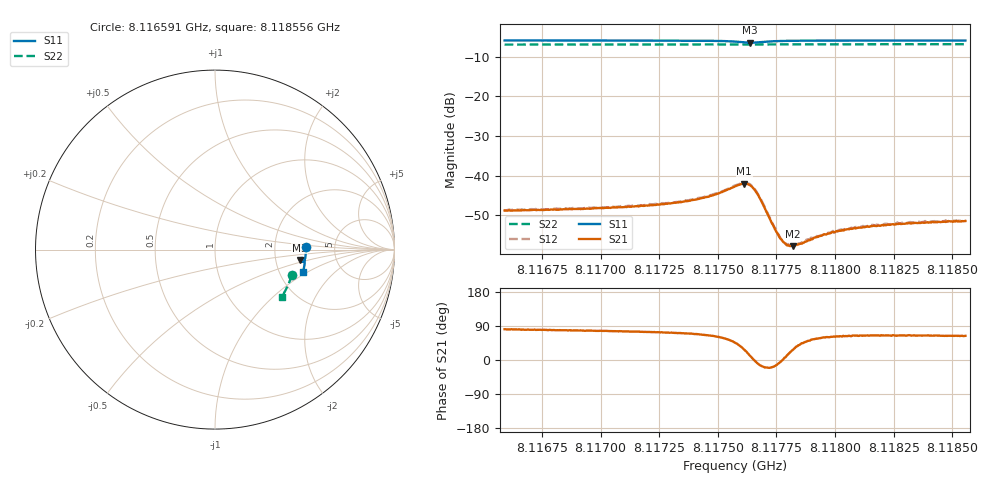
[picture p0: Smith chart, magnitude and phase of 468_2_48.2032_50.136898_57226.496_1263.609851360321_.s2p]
#  HZ  S  RI  R  50.00
! Rohde & Schwarz Vector Network Analyzer
! Rohde-Schwarz,ZNB20-2Port,1311601062101988,3.16
! Created: UTC 3/20/2024, 11:57:02 AM
! freq[Hz]  re:S11  im:S11  re:S21  im:S21  re:S12  im:S12  re:S22  im:S22
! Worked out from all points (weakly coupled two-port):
!   401 points, 8.116591 GHz to 8.118556 GHz, reference 50 ohm
!   highest |S21| = -41.99 dB at 8.117613 GHz (marker M1); lowest = -57.8 dB at 8.117819 GHz (marker M2)
!   lowest |S11| = -6.5 dB at 8.117637 GHz (marker M3), VSWR 2.82, Z = 137 - j20.4 ohm
!   |S11| at or under -10 dB: nowhere
!   |S22| runs from -6.9 to -6.8 dB; largest |S21 - S12| = 0.00023
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8.1165905e9  0.5074 0.0156  0.000557 0.0036  0.000609 0.00364  0.4277 -0.1412
8.1169198e9  0.5071 -0.00988  0.000803 0.00373  0.000842 0.0038  0.4208 -0.1631
8.117249e9  0.5048 -0.0365  0.00125 0.00413  0.0013 0.00425  0.4126 -0.1847
8.1173178e9  0.5038 -0.0425  0.00146 0.00434  0.00146 0.00438  0.4108 -0.1889
8.1174308e9  0.5011 -0.0533  0.00201 0.00482  0.00213 0.00485  0.4076 -0.1965
8.1175045e9  0.4967 -0.0616  0.00294 0.00525  0.00296 0.00533  0.4054 -0.2013
8.1175733e9  0.4863 -0.0684  0.00511 0.00528  0.00526 0.00539  0.4029 -0.2054
8.1176126e9  0.476 -0.0653  0.00704 0.0037  0.00723 0.00371  0.4016 -0.2077
8.1176372e9  0.4724 -0.0575  0.00745 0.0015  0.00766 0.00155  0.4006 -0.2088
8.1176519e9  0.4737 -0.0521  0.00693 0.000177  0.0071 0.000145  0.4005 -0.2094
8.1176716e9  0.4787 -0.0473  0.00564 -0.000974  0.00574 -0.00103  0.4001 -0.2104
8.1177404e9  0.4944 -0.0514  0.00213 -0.000647  0.00215 -0.000678  0.3988 -0.2149
8.1177699e9  0.497 -0.0556  0.00158 -0.000101  0.00158 -0.000152  0.398 -0.2169
8.1177945e9  0.4984 -0.0588  0.0013 0.00027  0.00133 0.000263  0.3973 -0.2186
8.117819e9  0.4991 -0.0622  0.00116 0.000567  0.00119 0.000589  0.3965 -0.2201
8.1178387e9  0.4995 -0.0643  0.0011 0.000801  0.00109 0.000779  0.3958 -0.2214
8.1179026e9  0.4997 -0.0713  0.000926 0.00127  0.000999 0.00131  0.394 -0.2255
8.1179812e9  0.4993 -0.0786  0.000915 0.00165  0.000942 0.00169  0.3913 -0.2304
8.1180549e9  0.4985 -0.0851  0.000956 0.00189  0.000978 0.0019  0.3889 -0.2349
8.1181139e9  0.4978 -0.0901  0.000955 0.002  0.000979 0.00206  0.3868 -0.2387
8.1182318e9  0.496 -0.0995  0.00102 0.00217  0.00102 0.0022  0.3827 -0.2459
8.1185561e9  0.4904 -0.1239  0.00118 0.00241  0.00126 0.00243  0.3707 -0.2652
